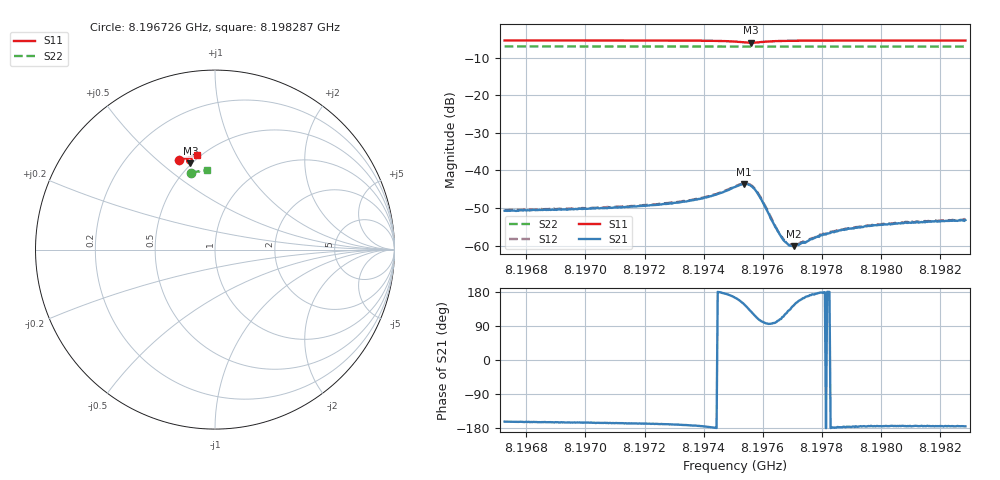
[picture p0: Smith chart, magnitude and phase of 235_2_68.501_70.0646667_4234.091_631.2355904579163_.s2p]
#  HZ  S  RI  R  50.00
! Rohde & Schwarz Vector Network Analyzer
! Rohde-Schwarz,ZNB20-2Port,1311601062101988,3.16
! Created: UTC 3/20/2024, 5:14:13 PM
! freq[Hz]  re:S11  im:S11  re:S21  im:S21  re:S12  im:S12  re:S22  im:S22
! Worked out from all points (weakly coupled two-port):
!   401 points, 8.196726 GHz to 8.198287 GHz, reference 50 ohm
!   highest |S21| = -43.55 dB at 8.197538 GHz (marker M1); lowest = -60.1 dB at 8.197706 GHz (marker M2)
!   lowest |S11| = -6.0 dB at 8.197561 GHz (marker M3), VSWR 3.00, Z = 24.6 + j31.6 ohm
!   |S11| at or under -10 dB: nowhere
!   |S22| runs from -7.1 to -7.0 dB; largest |S21 - S12| = 0.0003
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8.196726e9  -0.2003 0.4975  -0.00278 -0.000868  -0.00286 -0.000771  -0.1332 0.4264
8.1969875e9  -0.1816 0.504  -0.00297 -0.000794  -0.00309 -0.000693  -0.119 0.4302
8.197249e9  -0.1613 0.5099  -0.00344 -0.000665  -0.00356 -0.00056  -0.1045 0.4334
8.1973426e9  -0.1526 0.5113  -0.00383 -0.000559  -0.00398 -0.000419  -0.0993 0.4344
8.1974012e9  -0.1458 0.5116  -0.00432 -0.000369  -0.00439 -0.000199  -0.0961 0.4349
8.1974597e9  -0.137 0.5096  -0.00504 0.000193  -0.00513 0.000403  -0.0927 0.4356
8.1975066e9  -0.1288 0.502  -0.00581 0.00162  -0.00586 0.00185  -0.09 0.4359
8.1975378e9  -0.128 0.4898  -0.00556 0.00364  -0.00549 0.00389  -0.0883 0.4357
8.1975612e9  -0.1372 0.4814  -0.00376 0.00496  -0.00365 0.00522  -0.0874 0.4357
8.1975768e9  -0.1458 0.4817  -0.00223 0.00492  -0.00208 0.00515  -0.0868 0.436
8.1975924e9  -0.1522 0.4861  -0.00104 0.00422  -0.000932 0.00438  -0.086 0.4363
8.1976354e9  -0.1548 0.5006  -0.000264 0.00202  -0.000149 0.0021  -0.0838 0.4369
8.1976627e9  -0.1519 0.506  -0.000418 0.00126  -0.000393 0.00127  -0.0821 0.4375
8.1976744e9  -0.1505 0.5077  -0.000553 0.001  -0.00049 0.00106  -0.0814 0.4375
8.1976861e9  -0.1493 0.5091  -0.000658 0.000805  -0.00061 0.000872  -0.0808 0.4376
8.1977056e9  -0.1469 0.5109  -0.000798 0.000577  -0.000811 0.000666  -0.0795 0.4379
8.1977485e9  -0.1423 0.5138  -0.0011 0.000245  -0.00111 0.000312  -0.0773 0.4382
8.1977681e9  -0.1402 0.515  -0.00121 0.00014  -0.00124 0.000233  -0.0761 0.4384
8.1977993e9  -0.1372 0.5161  -0.00138 4.61e-05  -0.0014 0.000141  -0.0744 0.4386
8.1978968e9  -0.1286 0.5191  -0.00169 -0.000106  -0.00173 -3.78e-05  -0.0689 0.4394
8.1980295e9  -0.118 0.5217  -0.00194 -0.000185  -0.00197 -8.63e-05  -0.0613 0.4402
8.1982871e9  -0.0989 0.5257  -0.00218 -0.000192  -0.00219 -0.000143  -0.0467 0.4416
